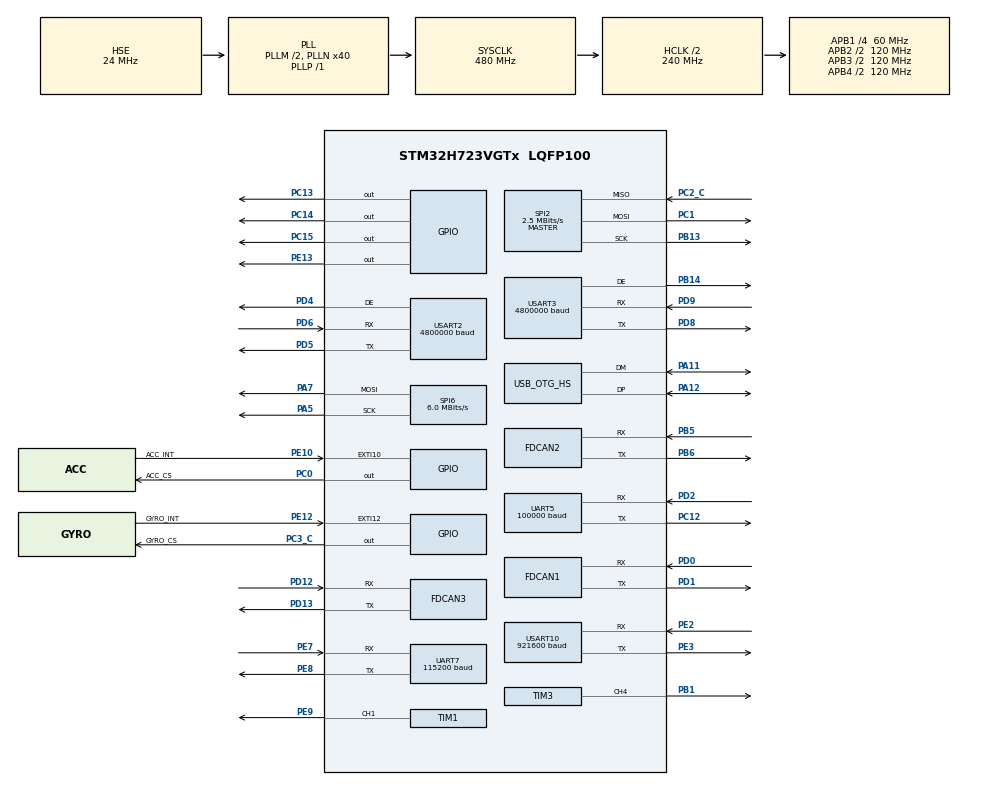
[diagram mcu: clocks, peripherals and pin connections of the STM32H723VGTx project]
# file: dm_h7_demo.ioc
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Dma.Request0=USART2_RX
Dma.Request1=USART2_TX
Dma.Request2=USART3_RX
Dma.Request3=USART3_TX
Dma.Request4=UART5_RX
Dma.Request5=UART5_TX
Dma.Request6=USART10_TX
Dma.Request7=UART7_TX
Dma.UART5_RX.4.Direction=DMA_PERIPH_TO_MEMORY
Dma.UART5_RX.4.EventEnable=DISABLE
Dma.UART5_RX.4.FIFOMode=DMA_FIFOMODE_DISABLE
Dma.UART5_RX.4.Instance=DMA1_Stream4
Dma.UART5_RX.4.MemDataAlignment=DMA_MDATAALIGN_BYTE
Dma.UART5_RX.4.MemInc=DMA_MINC_ENABLE
Dma.UART5_RX.4.Mode=DMA_NORMAL
Dma.UART5_RX.4.PeriphDataAlignment=DMA_PDATAALIGN_BYTE
Dma.UART5_RX.4.PeriphInc=DMA_PINC_DISABLE
Dma.UART5_RX.4.Polarity=HAL_DMAMUX_REQ_GEN_RISING
Dma.UART5_RX.4.Priority=DMA_PRIORITY_LOW
Dma.UART5_RX.4.RequestNumber=1
Dma.UART5_RX.4.SignalID=NONE
Dma.UART5_RX.4.SyncEnable=DISABLE
Dma.UART5_RX.4.SyncPolarity=HAL_DMAMUX_SYNC_NO_EVENT
Dma.UART5_RX.4.SyncRequestNumber=1
Dma.UART5_RX.4.SyncSignalID=NONE
Dma.UART5_TX.5.Direction=DMA_MEMORY_TO_PERIPH
Dma.UART5_TX.5.EventEnable=DISABLE
Dma.UART5_TX.5.FIFOMode=DMA_FIFOMODE_DISABLE
Dma.UART5_TX.5.Instance=DMA1_Stream5
Dma.UART5_TX.5.MemDataAlignment=DMA_MDATAALIGN_BYTE
Dma.UART5_TX.5.MemInc=DMA_MINC_ENABLE
Dma.UART5_TX.5.Mode=DMA_NORMAL
Dma.UART5_TX.5.PeriphDataAlignment=DMA_PDATAALIGN_BYTE
Dma.UART5_TX.5.PeriphInc=DMA_PINC_DISABLE
Dma.UART5_TX.5.Polarity=HAL_DMAMUX_REQ_GEN_RISING
Dma.UART5_TX.5.Priority=DMA_PRIORITY_LOW
Dma.UART5_TX.5.RequestNumber=1
Dma.UART5_TX.5.SignalID=NONE
Dma.UART5_TX.5.SyncEnable=DISABLE
Dma.UART5_TX.5.SyncPolarity=HAL_DMAMUX_SYNC_NO_EVENT
Dma.UART5_TX.5.SyncRequestNumber=1
Dma.UART5_TX.5.SyncSignalID=NONE
Dma.UART7_TX.7.Direction=DMA_MEMORY_TO_PERIPH
Dma.UART7_TX.7.EventEnable=DISABLE
Dma.UART7_TX.7.FIFOMode=DMA_FIFOMODE_DISABLE
Dma.UART7_TX.7.Instance=DMA1_Stream7
Dma.UART7_TX.7.MemDataAlignment=DMA_MDATAALIGN_BYTE
Dma.UART7_TX.7.MemInc=DMA_MINC_ENABLE
Dma.UART7_TX.7.Mode=DMA_NORMAL
Dma.UART7_TX.7.PeriphDataAlignment=DMA_PDATAALIGN_BYTE
Dma.UART7_TX.7.PeriphInc=DMA_PINC_DISABLE
Dma.UART7_TX.7.Polarity=HAL_DMAMUX_REQ_GEN_RISING
Dma.UART7_TX.7.Priority=DMA_PRIORITY_LOW
Dma.UART7_TX.7.RequestNumber=1
Dma.UART7_TX.7.SignalID=NONE
Dma.UART7_TX.7.SyncEnable=DISABLE
Dma.UART7_TX.7.SyncPolarity=HAL_DMAMUX_SYNC_NO_EVENT
Dma.UART7_TX.7.SyncRequestNumber=1
Dma.UART7_TX.7.SyncSignalID=NONE
Dma.USART10_TX.6.Direction=DMA_MEMORY_TO_PERIPH
Dma.USART10_TX.6.EventEnable=DISABLE
Dma.USART10_TX.6.FIFOMode=DMA_FIFOMODE_DISABLE
Dma.USART10_TX.6.Instance=DMA1_Stream6
Dma.USART10_TX.6.MemDataAlignment=DMA_MDATAALIGN_BYTE
Dma.USART10_TX.6.MemInc=DMA_MINC_ENABLE
Dma.USART10_TX.6.Mode=DMA_NORMAL
Dma.USART10_TX.6.PeriphDataAlignment=DMA_PDATAALIGN_BYTE
Dma.USART10_TX.6.PeriphInc=DMA_PINC_DISABLE
Dma.USART10_TX.6.Polarity=HAL_DMAMUX_REQ_GEN_RISING
Dma.USART10_TX.6.Priority=DMA_PRIORITY_LOW
Dma.USART10_TX.6.RequestNumber=1
Dma.USART10_TX.6.SignalID=NONE
Dma.USART10_TX.6.SyncEnable=DISABLE
Dma.USART10_TX.6.SyncPolarity=HAL_DMAMUX_SYNC_NO_EVENT
Dma.USART10_TX.6.SyncRequestNumber=1
Dma.USART10_TX.6.SyncSignalID=NONE
Dma.USART2_RX.0.Direction=DMA_PERIPH_TO_MEMORY
Dma.USART2_RX.0.EventEnable=DISABLE
Dma.USART2_RX.0.FIFOMode=DMA_FIFOMODE_DISABLE
Dma.USART2_RX.0.Instance=DMA1_Stream0
Dma.USART2_RX.0.MemDataAlignment=DMA_MDATAALIGN_BYTE
Dma.USART2_RX.0.MemInc=DMA_MINC_ENABLE
Dma.USART2_RX.0.Mode=DMA_NORMAL
Dma.USART2_RX.0.PeriphDataAlignment=DMA_PDATAALIGN_BYTE
Dma.USART2_RX.0.PeriphInc=DMA_PINC_DISABLE
Dma.USART2_RX.0.Polarity=HAL_DMAMUX_REQ_GEN_RISING
Dma.USART2_RX.0.Priority=DMA_PRIORITY_LOW
Dma.USART2_RX.0.RequestNumber=1
Dma.USART2_RX.0.SignalID=NONE
Dma.USART2_RX.0.SyncEnable=DISABLE
Dma.USART2_RX.0.SyncPolarity=HAL_DMAMUX_SYNC_NO_EVENT
Dma.USART2_RX.0.SyncRequestNumber=1
Dma.USART2_RX.0.SyncSignalID=NONE
Dma.USART2_TX.1.Direction=DMA_MEMORY_TO_PERIPH
Dma.USART2_TX.1.EventEnable=DISABLE
Dma.USART2_TX.1.FIFOMode=DMA_FIFOMODE_DISABLE
Dma.USART2_TX.1.Instance=DMA1_Stream1
Dma.USART2_TX.1.MemDataAlignment=DMA_MDATAALIGN_BYTE
Dma.USART2_TX.1.MemInc=DMA_MINC_ENABLE
Dma.USART2_TX.1.Mode=DMA_NORMAL
Dma.USART2_TX.1.PeriphDataAlignment=DMA_PDATAALIGN_BYTE
Dma.USART2_TX.1.PeriphInc=DMA_PINC_DISABLE
Dma.USART2_TX.1.Polarity=HAL_DMAMUX_REQ_GEN_RISING
Dma.USART2_TX.1.Priority=DMA_PRIORITY_LOW
Dma.USART2_TX.1.RequestNumber=1
Dma.USART2_TX.1.SignalID=NONE
Dma.USART2_TX.1.SyncEnable=DISABLE
Dma.USART2_TX.1.SyncPolarity=HAL_DMAMUX_SYNC_NO_EVENT
Dma.USART2_TX.1.SyncRequestNumber=1
Dma.USART2_TX.1.SyncSignalID=NONE
Dma.USART3_RX.2.Direction=DMA_PERIPH_TO_MEMORY
Dma.USART3_RX.2.EventEnable=DISABLE
Dma.USART3_RX.2.FIFOMode=DMA_FIFOMODE_DISABLE
Dma.USART3_RX.2.Instance=DMA1_Stream2
Dma.USART3_RX.2.MemDataAlignment=DMA_MDATAALIGN_BYTE
Dma.USART3_RX.2.MemInc=DMA_MINC_ENABLE
Dma.USART3_RX.2.Mode=DMA_NORMAL
Dma.USART3_RX.2.PeriphDataAlignment=DMA_PDATAALIGN_BYTE
Dma.USART3_RX.2.PeriphInc=DMA_PINC_DISABLE
Dma.USART3_RX.2.Polarity=HAL_DMAMUX_REQ_GEN_RISING
Dma.USART3_RX.2.Priority=DMA_PRIORITY_LOW
Dma.USART3_RX.2.RequestNumber=1
Dma.USART3_RX.2.SignalID=NONE
Dma.USART3_RX.2.SyncEnable=DISABLE
Dma.USART3_RX.2.SyncPolarity=HAL_DMAMUX_SYNC_NO_EVENT
Dma.USART3_RX.2.SyncRequestNumber=1
Dma.USART3_RX.2.SyncSignalID=NONE
Dma.USART3_TX.3.Direction=DMA_MEMORY_TO_PERIPH
Dma.USART3_TX.3.EventEnable=DISABLE
Dma.USART3_TX.3.FIFOMode=DMA_FIFOMODE_ENABLE
Dma.USART3_TX.3.FIFOThreshold=DMA_FIFO_THRESHOLD_FULL
Dma.USART3_TX.3.Instance=DMA1_Stream3
Dma.USART3_TX.3.MemBurst=DMA_MBURST_SINGLE
Dma.USART3_TX.3.MemDataAlignment=DMA_MDATAALIGN_BYTE
Dma.USART3_TX.3.MemInc=DMA_MINC_ENABLE
Dma.USART3_TX.3.Mode=DMA_NORMAL
Dma.USART3_TX.3.PeriphBurst=DMA_PBURST_SINGLE
Dma.USART3_TX.3.PeriphDataAlignment=DMA_PDATAALIGN_BYTE
Dma.USART3_TX.3.PeriphInc=DMA_PINC_DISABLE
Dma.USART3_TX.3.Polarity=HAL_DMAMUX_REQ_GEN_RISING
Dma.USART3_TX.3.Priority=DMA_PRIORITY_LOW
Dma.USART3_TX.3.RequestNumber=1
Dma.USART3_TX.3.SignalID=NONE
Dma.USART3_TX.3.SyncEnable=DISABLE
Dma.USART3_TX.3.SyncPolarity=HAL_DMAMUX_SYNC_NO_EVENT
Dma.USART3_TX.3.SyncRequestNumber=1
Dma.USART3_TX.3.SyncSignalID=NONE
FDCAN1.AutoRetransmission=ENABLE
FDCAN1.CalculateBaudRateNominal=1000000
FDCAN1.CalculateTimeBitNominal=1000
FDCAN1.CalculateTimeQuantumNominal=12.5
FDCAN1.DataSyncJumpWidth=2
FDCAN1.DataTimeSeg1=13
FDCAN1.DataTimeSeg2=2
FDCAN1.ExtFiltersNbr=4
FDCAN1.NominalPrescaler=1
FDCAN1.NominalSyncJumpWidth=20
FDCAN1.NominalTimeSeg1=59
FDCAN1.NominalTimeSeg2=20
FDCAN1.ProtocolException=ENABLE
FDCAN1.RxBuffersNbr=2
FDCAN1.RxFifo0ElmtsNbr=8
FDCAN1.RxFifo1ElmtsNbr=8
FDCAN1.StdFiltersNbr=4
FDCAN1.TxBuffersNbr=8
FDCAN1.TxEventsNbr=8
FDCAN1.TxFifoQueueElmtsNbr=8
FDCAN2.AutoRetransmission=ENABLE
FDCAN2.CalculateBaudRateNominal=1000000
FDCAN2.CalculateTimeBitNominal=1000
FDCAN2.CalculateTimeQuantumNominal=12.5
FDCAN2.DataSyncJumpWidth=2
FDCAN2.DataTimeSeg1=13
FDCAN2.DataTimeSeg2=2
FDCAN2.ExtFiltersNbr=4
FDCAN2.MessageRAMOffset=853
FDCAN2.NominalPrescaler=1
FDCAN2.NominalSyncJumpWidth=20
FDCAN2.NominalTimeSeg1=59
FDCAN2.NominalTimeSeg2=20
FDCAN2.ProtocolException=ENABLE
FDCAN2.RxBuffersNbr=2
FDCAN2.RxFifo0ElmtsNbr=8
FDCAN2.RxFifo1ElmtsNbr=8
FDCAN2.StdFiltersNbr=4
FDCAN2.TxBuffersNbr=8
FDCAN2.TxEventsNbr=8
FDCAN2.TxFifoQueueElmtsNbr=8
FDCAN3.AutoRetransmission=ENABLE
FDCAN3.CalculateBaudRateNominal=1000000
FDCAN3.CalculateTimeBitNominal=1000
FDCAN3.CalculateTimeQuantumNominal=12.5
FDCAN3.DataSyncJumpWidth=2
FDCAN3.DataTimeSeg1=13
FDCAN3.DataTimeSeg2=2
FDCAN3.ExtFiltersNbr=4
FDCAN3.MessageRAMOffset=1706
FDCAN3.NominalPrescaler=1
FDCAN3.NominalSyncJumpWidth=20
FDCAN3.NominalTimeSeg1=59
FDCAN3.NominalTimeSeg2=20
FDCAN3.ProtocolException=ENABLE
FDCAN3.RxBuffersNbr=2
FDCAN3.RxFifo0ElmtsNbr=8
FDCAN3.RxFifo1ElmtsNbr=8
FDCAN3.StdFiltersNbr=4
FDCAN3.TxBuffersNbr=8
FDCAN3.TxEventsNbr=8
FDCAN3.TxFifoQueueElmtsNbr=8
Mcu.Family=STM32H7
Mcu.Name=STM32H723VGTx
Mcu.Package=LQFP100
NVIC.DMA1_Stream0_IRQn=true\:0\:0\:false\:false\:true\:false\:true\:true
NVIC.DMA1_Stream1_IRQn=true\:0\:0\:false\:false\:true\:false\:true\:true
NVIC.DMA1_Stream2_IRQn=true\:0\:0\:false\:false\:true\:false\:true\:true
NVIC.DMA1_Stream3_IRQn=true\:0\:0\:false\:false\:true\:false\:true\:true
NVIC.DMA1_Stream4_IRQn=true\:0\:0\:false\:false\:true\:false\:true\:true
NVIC.DMA1_Stream5_IRQn=true\:0\:0\:false\:false\:true\:false\:true\:true
NVIC.DMA1_Stream6_IRQn=true\:0\:0\:false\:false\:true\:false\:true\:true
NVIC.DMA1_Stream7_IRQn=true\:0\:0\:false\:false\:true\:false\:true\:true
NVIC.EXTI15_10_IRQn=true\:0\:0\:false\:false\:true\:true\:true\:true
NVIC.FDCAN1_IT0_IRQn=true\:0\:0\:false\:false\:true\:true\:true\:true
NVIC.FDCAN1_IT1_IRQn=true\:0\:0\:false\:false\:true\:true\:true\:true
NVIC.FDCAN2_IT0_IRQn=true\:0\:0\:false\:false\:true\:true\:true\:true
NVIC.FDCAN2_IT1_IRQn=true\:0\:0\:false\:false\:true\:true\:true\:true
NVIC.FDCAN3_IT0_IRQn=true\:0\:0\:false\:false\:true\:true\:true\:true
NVIC.FDCAN3_IT1_IRQn=true\:0\:0\:false\:false\:true\:true\:true\:true
NVIC.OTG_HS_IRQn=true\:0\:0\:false\:false\:true\:true\:true\:true
NVIC.PriorityGroup=NVIC_PRIORITYGROUP_4
NVIC.UART5_IRQn=true\:0\:0\:false\:false\:true\:true\:true\:true
NVIC.UART7_IRQn=true\:0\:0\:false\:false\:true\:true\:true\:true
NVIC.USART10_IRQn=true\:0\:0\:false\:false\:true\:true\:true\:true
NVIC.USART2_IRQn=true\:0\:0\:false\:false\:true\:true\:true\:true
NVIC.USART3_IRQn=true\:0\:0\:false\:false\:true\:true\:true\:true
PA11.Mode=Device_Only_FS
PA11.Signal=USB_OTG_HS_DM
PA12.Mode=Device_Only_FS
PA12.Signal=USB_OTG_HS_DP
PA13(JTMS/SWDIO).Mode=Serial_Wire
PA13(JTMS/SWDIO).Signal=DEBUG_JTMS-SWDIO
PA14(JTCK/SWCLK).Mode=Serial_Wire
PA14(JTCK/SWCLK).Signal=DEBUG_JTCK-SWCLK
PA5.Mode=TX_Only_Simplex_Unidirect_Master
PA5.Signal=SPI6_SCK
PA7.Mode=TX_Only_Simplex_Unidirect_Master
PA7.Signal=SPI6_MOSI
PB1.Signal=S_TIM3_CH4
PB13.Mode=Full_Duplex_Master
PB13.Signal=SPI2_SCK
PB14.Mode=Hardware Flow Control (RS485)
PB14.Signal=USART3_DE
PB5.Mode=FDCAN_Activate
PB5.Signal=FDCAN2_RX
PB6.Mode=FDCAN_Activate
PB6.Signal=FDCAN2_TX
PC0.GPIO_Label=ACC_CS
PC0.GPIO_Speed=GPIO_SPEED_FREQ_VERY_HIGH
PC0.PinState=GPIO_PIN_SET
PC0.Signal=GPIO_Output
PC1.Mode=Full_Duplex_Master
PC1.Signal=SPI2_MOSI
PC12.Mode=Asynchronous
PC12.Signal=UART5_TX
PC13.PinState=GPIO_PIN_SET
PC13.Signal=GPIO_Output
PC14-OSC32_IN.Signal=GPIO_Output
PC15-OSC32_OUT.PinState=GPIO_PIN_SET
PC15-OSC32_OUT.Signal=GPIO_Output
PC2_C.Mode=Full_Duplex_Master
PC2_C.Signal=SPI2_MISO
PC3_C.GPIO_Label=GYRO_CS
PC3_C.GPIO_Speed=GPIO_SPEED_FREQ_VERY_HIGH
PC3_C.PinState=GPIO_PIN_SET
PC3_C.Signal=GPIO_Output
PD0.Mode=FDCAN_Activate
PD0.Signal=FDCAN1_RX
PD1.Mode=FDCAN_Activate
PD1.Signal=FDCAN1_TX
PD12.Mode=FDCAN_Activate
PD12.Signal=FDCAN3_RX
PD13.Mode=FDCAN_Activate
PD13.Signal=FDCAN3_TX
PD2.Mode=Asynchronous
PD2.Signal=UART5_RX
PD4.Mode=Hardware Flow Control (RS485)
PD4.Signal=USART2_DE
PD5.Mode=Asynchronous
PD5.Signal=USART2_TX
PD6.Mode=Asynchronous
PD6.Signal=USART2_RX
PD8.Mode=Asynchronous
PD8.Signal=USART3_TX
PD9.Mode=Asynchronous
PD9.Signal=USART3_RX
PE10.GPIO_Label=ACC_INT
PE10.Signal=GPXTI10
PE12.GPIO_Label=GYRO_INT
PE12.Signal=GPXTI12
PE13.Signal=GPIO_Output
PE2.Mode=Asynchronous
PE2.Signal=USART10_RX
PE3.Mode=Asynchronous
PE3.Signal=USART10_TX
PE7.Mode=Asynchronous
PE7.Signal=UART7_RX
PE8.Mode=Asynchronous
PE8.Signal=UART7_TX
PE9.Signal=S_TIM1_CH1
PH0-OSC_IN.Mode=HSE-External-Oscillator
PH0-OSC_IN.Signal=RCC_OSC_IN
PH1-OSC_OUT.Mode=HSE-External-Oscillator
PH1-OSC_OUT.Signal=RCC_OSC_OUT
ProjectManager.HeapSize=0x1000
ProjectManager.StackSize=0x4000
ProjectManager.TargetToolchain=MDK-ARM V5.32
RCC.ADCFreq_Value=48375000
RCC.APB1Freq_Value=60000000
RCC.APB2Freq_Value=120000000
RCC.APB3Freq_Value=120000000
RCC.APB4Freq_Value=120000000
RCC.CortexFreq_Value=480000000
RCC.D1PPRE=RCC_APB3_DIV2
RCC.D2PPRE1=RCC_APB1_DIV4
RCC.D2PPRE2=RCC_APB2_DIV2
RCC.D3PPRE=RCC_APB4_DIV2
RCC.DIVM1=2
RCC.DIVN1=40
RCC.DIVP1=1
RCC.DIVQ1=6
RCC.HCLKFreq_Value=240000000
RCC.HPRE=RCC_HCLK_DIV2
RCC.HSE_VALUE=24000000
RCC.PLL2FRACN=0
RCC.PLL3FRACN=0
RCC.PLLFRACN=0
RCC.PLLSourceVirtual=RCC_PLLSOURCE_HSE
RCC.SPI6CLockSelection=RCC_SPI6CLKSOURCE_HSE
RCC.SYSCLKFreq_VALUE=480000000
RCC.SYSCLKSource=RCC_SYSCLKSOURCE_PLLCLK
RCC.USBCLockSelection=RCC_USBCLKSOURCE_HSI48
RCC.USBFreq_Value=48000000
SH.S_TIM1_CH1.0=TIM1_CH1,PWM Generation1 CH1
SH.S_TIM3_CH4.0=TIM3_CH4,PWM Generation4 CH4
SPI2.BaudRatePrescaler=SPI_BAUDRATEPRESCALER_32
SPI2.CLKPhase=SPI_PHASE_2EDGE
SPI2.CLKPolarity=SPI_POLARITY_HIGH
SPI2.CalculateBaudRate=2.5 MBits/s
SPI2.DataSize=SPI_DATASIZE_8BIT
SPI2.Direction=SPI_DIRECTION_2LINES
SPI2.Mode=SPI_MODE_MASTER
SPI2.VirtualType=VM_MASTER
SPI6.BaudRatePrescaler=SPI_BAUDRATEPRESCALER_4
SPI6.CLKPhase=SPI_PHASE_2EDGE
SPI6.CalculateBaudRate=6.0 MBits/s
SPI6.DataSize=SPI_DATASIZE_8BIT
SPI6.Direction=SPI_DIRECTION_2LINES_TXONLY
SPI6.Mode=SPI_MODE_MASTER
SPI6.VirtualType=VM_MASTER
STMicroelectronics.X-CUBE-ALGOBUILD.1.3.0.LibraryCcDSPOoLibraryJjDSPOoLibrary=true
TIM1.Channel-PWM\ Generation1\ CH1=TIM_CHANNEL_1
TIM1.Period=19999
TIM1.Prescaler=239
TIM3.Channel-PWM\ Generation4\ CH4=TIM_CHANNEL_4
TIM3.Period=10000-1
TIM3.Prescaler=24-1
UART5.BaudRate=100000
UART5.Parity=PARITY_EVEN
UART5.WordLength=WORDLENGTH_9B
UART7.BaudRate=115200
USART10.BaudRate=921600
USART10.VirtualMode=VM_ASYNC
USART2.BaudRate=4800000
USART2.OverSampling=UART_OVERSAMPLING_8
USART2.VirtualMode-Asynchronous=VM_ASYNC
USART2.VirtualMode-Hardware\ Flow\ Control\ (RS485)=VM_ASYNC
USART3.BaudRate=4800000
USART3.OverSampling=UART_OVERSAMPLING_8
USART3.VirtualMode-Asynchronous=VM_ASYNC
USART3.VirtualMode-Hardware\ Flow\ Control\ (RS485)=VM_ASYNC
USB_DEVICE.CLASS_NAME_HS=CDC
USB_DEVICE.VirtualMode=Cdc
USB_DEVICE.VirtualModeHS=Cdc_HS
USB_OTG_HS.VirtualMode-Device_Only_FS=Device_Only_FS
VP_MEMORYMAP_VS_MEMORYMAP.Mode=CurAppReg
VP_STMicroelectronics.X-CUBE-ALGOBUILD_VS_DSPOoLibraryJjLibrary_1.3.0_1.3.0.Mode=DSPOoLibraryJjLibrary
VP_TIM1_VS_ClockSourceINT.Mode=Internal
VP_TIM3_VS_ClockSourceINT.Mode=Internal
VP_USB_DEVICE_VS_USB_DEVICE_CDC_HS.Mode=CDC_HS
board=custom

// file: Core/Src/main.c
/* USER CODE BEGIN Header */
/**
 ******************************************************************************
 * @file           : main.c
 * @brief          : Main program body
 ******************************************************************************
 * @attention
 *
 * Copyright (c) 2024 STMicroelectronics.
 * All rights reserved.
 *
 * This software is licensed under terms that can be found in the LICENSE file
 * in the root directory of this software component.
 * If no LICENSE file comes with this software, it is provided AS-IS.
 *
 ******************************************************************************
 */
/* USER CODE END Header */
#include "main.h"
#include "dma.h"
#include "fdcan.h"
#include "memorymap.h"
#include "spi.h"
#include "tim.h"
#include "usart.h"
#include "usb_device.h"
#include "gpio.h"

/* USER CODE BEGIN Includes */
#include "kf_imu.h"
#include "bsp_dwt.h"

#include "arm.h"
#include "chassis.h"
#include "robot_cmd.h"
#include "robot_def.h"
#include "video.h"
#include "sucker.h"
#include "cm_device.h"
#include "UI_task.h"
#include "ui.h"
/* USER CODE END Includes */

/* USER CODE BEGIN PTD */
float target_lift_speed1=0;
/* USER CODE END PTD */

/* USER CODE BEGIN PV */
extern IMU_DATA imu_data;
static unsigned int task_count = 0;
static float wasteT = 0; //单位秒s

static int time_count =0;//计数变量 用于控制频率
/* USER CODE END PV */

void SystemClock_Config(void);

int main(void)
{

  /* MCU Configuration--------------------------------------------------------*/

  /* Reset of all peripherals, Initializes the Flash interface and the Systick. */
  HAL_Init();

  /* USER CODE BEGIN Init */
//  HAL_Delay(100);//�ϵ�������
  /* USER CODE END Init */

  /* Configure the system clock */
  SystemClock_Config();

  /* USER CODE BEGIN SysInit */

//  HAL_Delay(3000);
  /* USER CODE END SysInit */

  /* Initialize all configured peripherals */
  MX_GPIO_Init();
  MX_DMA_Init();
  MX_USART2_UART_Init();
  MX_USART3_UART_Init();
  MX_SPI6_Init();
  MX_FDCAN1_Init();
  MX_FDCAN2_Init();
  MX_FDCAN3_Init();
  MX_SPI2_Init();
  MX_TIM3_Init();
  MX_UART5_Init();
  MX_USB_DEVICE_Init();
  MX_UART7_Init();
  MX_TIM1_Init();
  MX_USART10_UART_Init();
  /* USER CODE BEGIN 2 */

  ui_init_g();

  DWT_Init(480);

	kf_imu_init();
  DWT_Delay(0.1);

  bsp_can_init();

  ROBOT_CMD_INIT();
  CHASSIS_INIT();
  ARM_INIT();
	VIDEO_INIT();
	SUCKER_INIT();
	HAL_UARTEx_ReceiveToIdle_IT(&huart10,uart10_rx_buff, sizeof(uart10_rx_buff));

	device_init(&video_cm, 0.3,  1);//��ʼ��ͼ���豸��ʱʱ��
	device_init(&rc_cm, 0.3,  2);//��ʼ��ͼ���豸��ʱʱ��

  /* USER CODE END 2 */

  /* Infinite loop */
  /* USER CODE BEGIN WHILE */
  while (1)
  {
		recieve_all_data();
    // 1000HZ循环
    DWT_GetDeltaT(&task_count);
		/*tasks begin*/
    kf_imu_upgrade();
		/*tasks end*/

		 if(time_count%10==0)//100hz任务
    {

			if(shift_flag==1&&f_flag==1)
			{
//				__set_FAULTMASK(1);//��ֹ���еĿ������ж�
//        NVIC_SystemReset();//������λ
				enable_motor_mode(&hfdcan2, 1, MIT_MODE);
        enable_motor_mode(&hfdcan2, 2, POS_MODE);
        enable_motor_mode(&hfdcan3, 1, POS_MODE);
        enable_motor_mode(&hfdcan3, 2, POS_MODE);

				clear_err(&hfdcan2,  1,  MIT_MODE);
				clear_err(&hfdcan2,  2,  POS_MODE);
				clear_err(&hfdcan3,  1,  POS_MODE);
				clear_err(&hfdcan3,  2,  POS_MODE);

			}

				if(ctrl_flag==1&&shift_flag==1&&f_flag==1)
			{
				__set_FAULTMASK(1);//��ֹ���еĿ������ж�
        NVIC_SystemReset();//������λ

			}
    }

    if(time_count%5==0)//200hz任务
    {
			device_refresh(&video_cm);
			device_refresh(&rc_cm);
    }

		if(time_count%5==0)//200hz任务
    {
     ROBOT_CMD_TASK();
    }

#ifndef TEST_MODE

    CHASSIS_TASK();
		ARM_TASK();
		VIDEO_TASK();
		SUCKER_TASK();

#endif

		#ifdef TEST_MODE
		TEST_TASK();
		#endif

    if(time_count%200==0)//5hz任务
    {
//      offline_check();//离线�?�?
			if(g_flag)
			{

				 ui_init_g();//ˢ��UI
			}
				UI_UPLOAD();//������Ϣ
			 ui_update_g();
//			 UI_TASK();
    }

		 if(time_count%1000==0)//1hz任务
    {

    }

    float Task_T = DWT_GetDeltaT(&task_count);
    wasteT = 0.001f - Task_T;
		if(wasteT>=0)
    DWT_Delay(wasteT);

    time_count++;//1000hz自增

    /* USER CODE END WHILE */

  }
}

void SystemClock_Config(void)
{
  RCC_OscInitTypeDef RCC_OscInitStruct = {0};
  RCC_ClkInitTypeDef RCC_ClkInitStruct = {0};

  /** Supply configuration update enable
  */
  HAL_PWREx_ConfigSupply(PWR_LDO_SUPPLY);

  /** Configure the main internal regulator output voltage
  */
  __HAL_PWR_VOLTAGESCALING_CONFIG(PWR_REGULATOR_VOLTAGE_SCALE0);

  while(!__HAL_PWR_GET_FLAG(PWR_FLAG_VOSRDY)) {}

  /** Initializes the RCC Oscillators according to the specified parameters
  * in the RCC_OscInitTypeDef structure.
  */
  RCC_OscInitStruct.OscillatorType = RCC_OSCILLATORTYPE_HSI48|RCC_OSCILLATORTYPE_HSE;
  RCC_OscInitStruct.HSEState = RCC_HSE_ON;
  RCC_OscInitStruct.HSI48State = RCC_HSI48_ON;
  RCC_OscInitStruct.PLL.PLLState = RCC_PLL_ON;
  RCC_OscInitStruct.PLL.PLLSource = RCC_PLLSOURCE_HSE;
  RCC_OscInitStruct.PLL.PLLM = 2;
  RCC_OscInitStruct.PLL.PLLN = 40;
  RCC_OscInitStruct.PLL.PLLP = 1;
  RCC_OscInitStruct.PLL.PLLQ = 6;
  RCC_OscInitStruct.PLL.PLLR = 2;
  RCC_OscInitStruct.PLL.PLLRGE = RCC_PLL1VCIRANGE_3;
  RCC_OscInitStruct.PLL.PLLVCOSEL = RCC_PLL1VCOWIDE;
  RCC_OscInitStruct.PLL.PLLFRACN = 0;
  if (HAL_RCC_OscConfig(&RCC_OscInitStruct) != HAL_OK)
  {
    Error_Handler();
  }

  /** Initializes the CPU, AHB and APB buses clocks
  */
  RCC_ClkInitStruct.ClockType = RCC_CLOCKTYPE_HCLK|RCC_CLOCKTYPE_SYSCLK
                              |RCC_CLOCKTYPE_PCLK1|RCC_CLOCKTYPE_PCLK2
                              |RCC_CLOCKTYPE_D3PCLK1|RCC_CLOCKTYPE_D1PCLK1;
  RCC_ClkInitStruct.SYSCLKSource = RCC_SYSCLKSOURCE_PLLCLK;
  RCC_ClkInitStruct.SYSCLKDivider = RCC_SYSCLK_DIV1;
  RCC_ClkInitStruct.AHBCLKDivider = RCC_HCLK_DIV2;
  RCC_ClkInitStruct.APB3CLKDivider = RCC_APB3_DIV2;
  RCC_ClkInitStruct.APB1CLKDivider = RCC_APB1_DIV4;
  RCC_ClkInitStruct.APB2CLKDivider = RCC_APB2_DIV2;
  RCC_ClkInitStruct.APB4CLKDivider = RCC_APB4_DIV2;

  if (HAL_RCC_ClockConfig(&RCC_ClkInitStruct, FLASH_LATENCY_3) != HAL_OK)
  {
    Error_Handler();
  }
}

void Error_Handler(void)
{
  __disable_irq();
  while (1)
  {
  }
}
